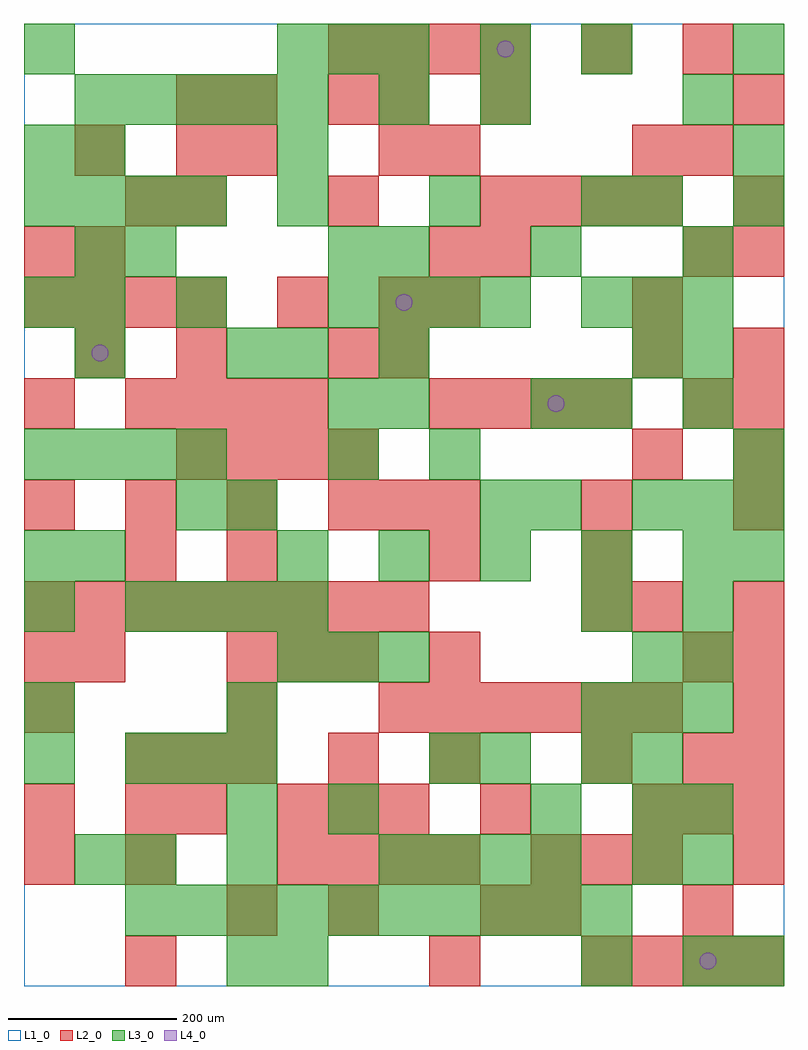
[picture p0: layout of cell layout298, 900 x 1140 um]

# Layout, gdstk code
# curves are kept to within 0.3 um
import gdstk
lib = gdstk.Library(unit=1e-6, precision=1e-09)
def R(c, l, rs):  # rectangles x0, y0, x1, y1
    for r in rs: c.add(gdstk.rectangle(r[:2], r[2:], *l))
def A(c, l, x, y, w, h, nx, ny, dx, dy):  # array of equal rectangles
    R(c, l, [(x+i*dx, y+j*dy, x+i*dx+w, y+j*dy+h) for i in range(nx) for j in range(ny)])
def P(c, l, *ps):  # polygons
    for p in ps: c.add(gdstk.Polygon(p, *l))
L1_0 = (1, 0)
L2_0 = (2, 0)
L3_0 = (3, 0)
L4_0 = (4, 0)

layout298 = lib.new_cell('layout298')
R(layout298, L1_0, [(0,0,900,1140)])
A(layout298, L2_0, 660, 0, 60, 60, 4, 1, 60, 0)
A(layout298, L2_0, 300, 120, 60, 60, 4, 1, 60, 0)
A(layout298, L2_0, 600, 120, 60, 60, 3, 2, 60, 780)
A(layout298, L2_0, 300, 180, 60, 60, 3, 1, 60, 0)
A(layout298, L2_0, 720, 180, 60, 60, 3, 1, 60, 0)
A(layout298, L2_0, 120, 240, 60, 60, 3, 1, 60, 0)
A(layout298, L2_0, 480, 240, 60, 60, 1, 3, 0, 120)
A(layout298, L2_0, 840, 240, 60, 60, 1, 4, 0, 60)
A(layout298, L2_0, 420, 300, 60, 60, 6, 1, 60, 0)
A(layout298, L2_0, 240, 360, 60, 60, 3, 1, 60, 0)
A(layout298, L2_0, 0, 420, 60, 60, 8, 1, 60, 0)
A(layout298, L2_0, 0, 540, 60, 60, 4, 1, 120, 0)
A(layout298, L2_0, 480, 540, 60, 60, 3, 1, 180, 0)
A(layout298, L2_0, 180, 600, 60, 60, 4, 1, 60, 0)
A(layout298, L2_0, 840, 600, 60, 60, 1, 3, 0, 60)
A(layout298, L2_0, 120, 660, 60, 60, 4, 1, 60, 0)
A(layout298, L2_0, 480, 660, 60, 60, 4, 1, 60, 0)
A(layout298, L2_0, 60, 720, 60, 60, 1, 3, 0, 120)
A(layout298, L2_0, 0, 780, 60, 60, 4, 1, 60, 0)
A(layout298, L2_0, 780, 840, 60, 60, 1, 3, 0, 120)
A(layout298, L2_0, 180, 900, 60, 60, 3, 1, 180, 0)
A(layout298, L2_0, 360, 1080, 60, 60, 4, 1, 60, 0)
R(layout298, L2_0, [(120,0,180,60), (480,0,540,60), (240,60,300,120), (360,60,420,120), (540,60,600,120), (600,60,660,120), (780,60,840,120), (0,120,60,180), (120,120,180,180), (840,120,900,180), (0,180,60,240), (120,180,180,240), (180,180,240,240), (540,180,600,240), (360,240,420,300), (660,240,720,300), (780,240,840,300), (0,300,60,360), (240,300,300,360), (0,360,60,420), (60,360,120,420), (780,360,840,420), (660,420,720,480), (720,420,780,480), (120,480,180,540), (240,480,300,540), (660,480,720,540), (420,540,480,600), (720,600,780,660), (0,660,60,720), (780,660,840,720), (180,720,240,780), (360,720,420,780), (420,720,480,780), (720,720,780,780), (300,780,360,840), (420,780,480,840), (480,780,540,840), (720,780,780,840), (0,840,60,900), (480,840,540,900), (540,840,600,900), (840,840,900,900), (120,900,180,960), (840,900,900,960), (180,960,240,1020), (240,960,300,1020), (420,960,480,1020), (480,960,540,1020), (720,960,780,1020), (180,1020,240,1080), (240,1020,300,1080), (360,1020,420,1080), (420,1020,480,1080), (540,1020,600,1080), (840,1020,900,1080), (660,1080,720,1140)])
A(layout298, L3_0, 120, 60, 60, 60, 10, 1, 60, 0)
A(layout298, L3_0, 420, 120, 60, 60, 4, 1, 60, 0)
A(layout298, L3_0, 720, 120, 60, 60, 1, 3, 0, 60)
A(layout298, L3_0, 120, 240, 60, 60, 3, 1, 60, 0)
A(layout298, L3_0, 660, 300, 60, 60, 3, 2, 60, 480)
A(layout298, L3_0, 300, 360, 60, 60, 3, 2, 60, 720)
A(layout298, L3_0, 120, 420, 60, 60, 4, 1, 60, 0)
A(layout298, L3_0, 300, 480, 60, 60, 5, 1, 120, 0)
A(layout298, L3_0, 720, 540, 60, 60, 3, 1, 60, 0)
A(layout298, L3_0, 0, 600, 60, 60, 4, 2, 60, 300)
A(layout298, L3_0, 60, 720, 60, 60, 1, 3, 0, 60)
A(layout298, L3_0, 360, 780, 60, 60, 4, 1, 60, 0)
A(layout298, L3_0, 420, 840, 60, 60, 3, 1, 180, 0)
A(layout298, L3_0, 300, 900, 60, 60, 3, 1, 180, 0)
A(layout298, L3_0, 60, 1020, 60, 60, 5, 1, 60, 0)
R(layout298, L3_0, [(240,0,300,60), (300,0,360,60), (660,0,720,60), (780,0,840,60), (840,0,900,60), (60,120,120,180), (120,120,180,180), (240,120,300,180), (780,120,840,180), (240,180,300,240), (360,180,420,240), (600,180,660,240), (780,180,840,240), (0,240,60,300), (480,240,540,300), (540,240,600,300), (660,240,720,300), (0,300,60,360), (240,300,300,360), (720,360,780,420), (780,360,840,420), (0,420,60,480), (660,420,720,480), (780,420,840,480), (0,480,60,540), (60,480,120,540), (840,480,900,540), (180,540,240,600), (240,540,300,600), (540,540,600,600), (600,540,660,600), (360,600,420,660), (480,600,540,660), (840,600,900,660), (360,660,420,720), (420,660,480,720), (600,660,660,720), (660,660,720,720), (780,660,840,720), (240,720,300,780), (300,720,360,780), (420,720,480,780), (720,720,780,780), (780,720,840,780), (0,780,60,840), (180,780,240,840), (120,840,180,900), (360,840,420,900), (720,900,780,960), (840,900,900,960), (0,960,60,1020), (60,960,120,1020), (300,960,360,1020), (840,960,900,1020), (420,1020,480,1080), (540,1020,600,1080), (780,1020,840,1080), (0,1080,60,1140), (540,1080,600,1140), (660,1080,720,1140), (840,1080,900,1140)])
P(layout298, L4_0, [(100,750),(99.239,753.827),(97.071,757.071),(93.827,759.239),(90,760),(86.173,759.239),(82.929,757.071),(80.761,753.827),(80,750),(80.761,746.173),(82.929,742.929),(86.173,740.761),(90,740),(93.827,740.761),(97.071,742.929),(99.239,746.173)],
  [(460,810),(459.239,813.827),(457.071,817.071),(453.827,819.239),(450,820),(446.173,819.239),(442.929,817.071),(440.761,813.827),(440,810),(440.761,806.173),(442.929,802.929),(446.173,800.761),(450,800),(453.827,800.761),(457.071,802.929),(459.239,806.173)],
  [(580,1110),(579.239,1113.827),(577.071,1117.071),(573.827,1119.239),(570,1120),(566.173,1119.239),(562.929,1117.071),(560.761,1113.827),(560,1110),(560.761,1106.173),(562.929,1102.929),(566.173,1100.761),(570,1100),(573.827,1100.761),(577.071,1102.929),(579.239,1106.173)],
  [(640,690),(639.239,693.827),(637.071,697.071),(633.827,699.239),(630,700),(626.173,699.239),(622.929,697.071),(620.761,693.827),(620,690),(620.761,686.173),(622.929,682.929),(626.173,680.761),(630,680),(633.827,680.761),(637.071,682.929),(639.239,686.173)],
  [(820,30),(819.239,33.827),(817.071,37.071),(813.827,39.239),(810,40),(806.173,39.239),(802.929,37.071),(800.761,33.827),(800,30),(800.761,26.173),(802.929,22.929),(806.173,20.761),(810,20),(813.827,20.761),(817.071,22.929),(819.239,26.173)])

lib.write_gds('layout298.gds')
